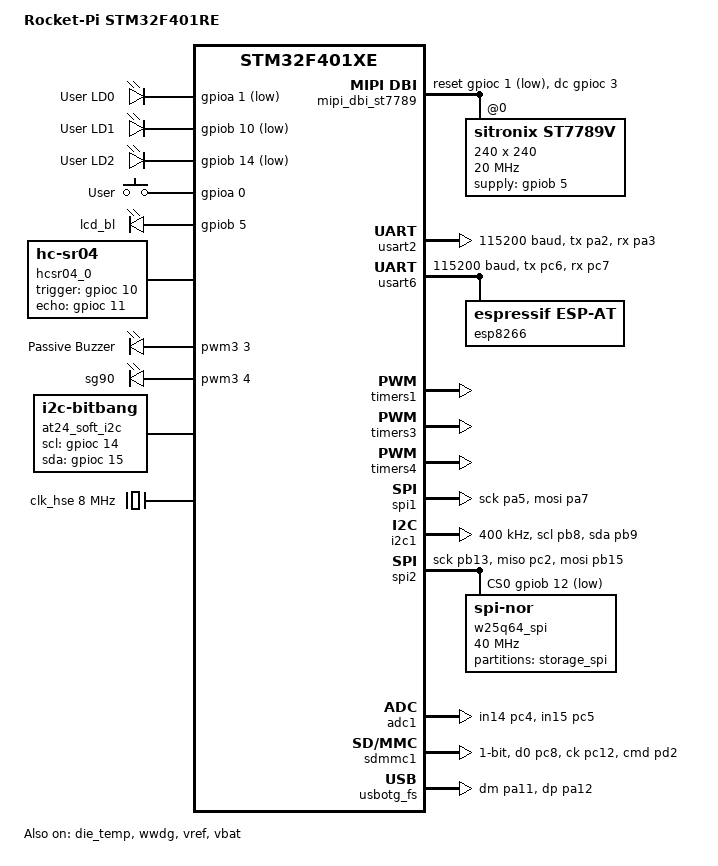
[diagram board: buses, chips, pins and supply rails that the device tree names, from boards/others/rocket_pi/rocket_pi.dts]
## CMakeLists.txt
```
# SPDX-License-Identifier: Apache-2.0

cmake_minimum_required(VERSION 3.20.0)

list(APPEND BOARD_ROOT ${CMAKE_CURRENT_SOURCE_DIR})

find_package(Zephyr REQUIRED HINTS $ENV{ZEPHYR_BASE})
project(rocketpi_zephyr_learning)

target_sources(app PRIVATE src/main.c)
```

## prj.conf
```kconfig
# Enable GPIO for LED control.
CONFIG_GPIO=y

# Enable console output through the board's chosen UART.
CONFIG_SERIAL=y
CONFIG_CONSOLE=y
CONFIG_UART_CONSOLE=y
CONFIG_PRINTK=y
```

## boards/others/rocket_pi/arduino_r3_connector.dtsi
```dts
/*
 * SPDX-License-Identifier: Apache-2.0
 */

#include <zephyr/dt-bindings/gpio/arduino-header-r3.h>

/ {
	arduino_header: connector {
		compatible = "arduino-header-r3";
		#gpio-cells = <2>;
		gpio-map-mask = <0xffffffff 0xffffffc0>;
		gpio-map-pass-thru = <0 0x3f>;
		gpio-map = <ARDUINO_HEADER_R3_A0 0 &gpioa 0 0>,
			   <ARDUINO_HEADER_R3_A1 0 &gpioa 1 0>,
			   <ARDUINO_HEADER_R3_A2 0 &gpioa 4 0>,
			   <ARDUINO_HEADER_R3_A3 0 &gpiob 0 0>,
			   <ARDUINO_HEADER_R3_A4 0 &gpioc 1 0>,
			   <ARDUINO_HEADER_R3_A5 0 &gpioc 0 0>,
			   <ARDUINO_HEADER_R3_D0 0 &gpioa 3 0>,
			   <ARDUINO_HEADER_R3_D1 0 &gpioa 2 0>,
			   <ARDUINO_HEADER_R3_D2 0 &gpioa 10 0>,
			   <ARDUINO_HEADER_R3_D3 0 &gpiob 3 0>,
			   <ARDUINO_HEADER_R3_D4 0 &gpiob 5 0>,
			   <ARDUINO_HEADER_R3_D5 0 &gpiob 4 0>,
			   <ARDUINO_HEADER_R3_D6 0 &gpiob 10 0>,
			   <ARDUINO_HEADER_R3_D7 0 &gpioa 8 0>,
			   <ARDUINO_HEADER_R3_D8 0 &gpioa 9 0>,
			   <ARDUINO_HEADER_R3_D9 0 &gpioc 7 0>,
			   <ARDUINO_HEADER_R3_D10 0 &gpiob 6 0>,
			   <ARDUINO_HEADER_R3_D11 0 &gpioa 7 0>,
			   <ARDUINO_HEADER_R3_D12 0 &gpioa 6 0>,
			   <ARDUINO_HEADER_R3_D13 0 &gpioa 5 0>,
			   <ARDUINO_HEADER_R3_D14 0 &gpiob 9 0>,
			   <ARDUINO_HEADER_R3_D15 0 &gpiob 8 0>;
	};
};

arduino_i2c: &i2c1 {};
arduino_spi: &spi1 {};
```

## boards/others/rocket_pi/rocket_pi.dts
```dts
/*
 * SPDX-License-Identifier: Apache-2.0
 */

/dts-v1/;
#include <st/f4/stm32f401Xe.dtsi>
#include <st/f4/stm32f401r(d-e)tx-pinctrl.dtsi>
#include "arduino_r3_connector.dtsi"
#include "st_morpho_connector.dtsi"
#include <zephyr/dt-bindings/display/panel.h>
#include <zephyr/dt-bindings/input/input-event-codes.h>
#include <zephyr/dt-bindings/led/led.h>
#include <zephyr/dt-bindings/mipi_dbi/mipi_dbi.h>
#include <zephyr/dt-bindings/pwm/pwm.h>

/ {
	model = "Rocket-Pi STM32F401RE";
	compatible = "newbie-jiang,rocket-pi";

	chosen {
		zephyr,console = &usart2;
		zephyr,shell-uart = &usart2;
		zephyr,sram = &sram0;
		zephyr,flash = &flash0;
		zephyr,display = &st7789v;
	};

	leds: leds {
		compatible = "gpio-leds";

		red_led: led_0 {
			gpios = <&gpioa 1 GPIO_ACTIVE_LOW>;
			label = "User LD0";
		};

		green_led: led_1 {
			gpios = <&gpiob 10 GPIO_ACTIVE_LOW>;
			label = "User LD1";
		};

		blue_led: led_2 {
			gpios = <&gpiob 14 GPIO_ACTIVE_LOW>;
			label = "User LD2";
		};
	};

	gpio_keys {
		compatible = "gpio-keys";

		user_button: button {
			label = "User";
			gpios = <&gpioa 0 (GPIO_PULL_DOWN | GPIO_ACTIVE_HIGH)>;
			zephyr,code = <INPUT_KEY_0>;
		};
	};

	backlight {
		compatible = "gpio-leds";
		status = "okay";

		lcd_bl: lcd_bl {
			gpios = <&gpiob 5 GPIO_ACTIVE_HIGH>;
			label = "lcd_bl";
		};
	};

	mipi_dbi_st7789 {
		compatible = "zephyr,mipi-dbi-spi";
		status = "okay";
		dc-gpios = <&gpioc 3 GPIO_ACTIVE_HIGH>;
		reset-gpios = <&gpioc 1 GPIO_ACTIVE_LOW>;
		spi-dev = <&spi1>;
		write-only;
		#address-cells = <1>;
		#size-cells = <0>;

		st7789v: st7789v@0 {
			compatible = "sitronix,st7789v";
			status = "okay";
			reg = <0>;
			mipi-max-frequency = <20000000>;
			width = <240>;
			height = <240>;
			pixel-format = <PANEL_PIXEL_FORMAT_RGB_565>;
			x-offset = <0>;
			y-offset = <0>;
			supply-gpios = <&gpiob 5 GPIO_ACTIVE_HIGH>;
			vcom = <0x19>;
			gctrl = <0x35>;
			vrhs = <0x12>;
			vdvs = <0x20>;
			mdac = <0x00>;
			gamma = <0x01>;
			lcm = <0x2c>;
			porch-param = [0c 0c 00 33 33];
			cmd2en-param = [5a 69 02 01];
			pwctrl1-param = [a4 a1];
			pvgam-param = [d0 04 0d 11 13 2b 3f 54 4c
					18 0d 0b 1f 23];
			nvgam-param = [d0 04 0c 11 13 2c 3f 44 51
					2f 1f 1f 20 23];
			ram-param = [00 f0];
			rgb-param = [cd 08 14];
			mipi-mode = "MIPI_DBI_MODE_SPI_4WIRE";
		};
	};

	hcsr04_0: hcsr04 {
		compatible = "hc-sr04";
		trigger-gpios = <&gpioc 10 GPIO_ACTIVE_HIGH>;
		echo-gpios = <&gpioc 11
			      (GPIO_ACTIVE_HIGH | GPIO_PULL_DOWN)>;
		status = "okay";
	};

	pwmleds {
		compatible = "pwm-leds";

		buzzer_pwm: buzzer_pwm {
			pwms = <&pwm3 3 PWM_HZ(2700) PWM_POLARITY_NORMAL>;
			label = "Passive Buzzer";
		};

		sg90_pwm: sg90_pwm {
			pwms = <&pwm3 4 PWM_HZ(50) PWM_POLARITY_NORMAL>;
			label = "sg90";
		};
	};

	at24_soft_i2c: at24_soft_i2c {
		compatible = "zephyr,i2c-bitbang";
		status = "okay";
		scl-gpios = <&gpioc 14 GPIO_ACTIVE_HIGH>;
		sda-gpios = <&gpioc 15 GPIO_ACTIVE_HIGH>;
	};

	aliases {
		led0 = &red_led;
		led1 = &green_led;
		led2 = &blue_led;
		sw0 = &user_button;
		watchdog0 = &wwdg;
		die-temp0 = &die_temp;
		volt-sensor0 = &vref;
		volt-sensor1 = &vbat;
		bl0 = &lcd_bl;
		sdhc0 = &sdmmc1;
		i2s-tx = &i2s2;
		hcsr04 = &hcsr04_0;
		buzzer0 = &buzzer_pwm;
		servo0 = &sg90_pwm;
		wifi0 = &esp8266;
	};
};

&clk_lsi {
	status = "okay";
};

&clk_hse {
	clock-frequency = <DT_FREQ_M(8)>;
	status = "okay";
};

&pll {
	div-m = <4>;
	mul-n = <168>;
	div-p = <4>;
	div-q = <7>;
	clocks = <&clk_hse>;
	status = "okay";
};

&rcc {
	clocks = <&pll>;
	clock-frequency = <DT_FREQ_M(84)>;
	ahb-prescaler = <1>;
	apb1-prescaler = <2>;
	apb2-prescaler = <1>;
};

&usart2 {
	pinctrl-0 = <&usart2_tx_pa2 &usart2_rx_pa3>;
	pinctrl-names = "default";
	current-speed = <115200>;
	status = "okay";
	label = "debug_uart";
};

&usart1 {
	pinctrl-0 = <&usart1_tx_pa9 &usart1_rx_pa10>;
	pinctrl-names = "default";
	current-speed = <9600>;
	status = "disabled";
	label = "radar_uart";
};

&usart6 {
	pinctrl-0 = <&usart6_tx_pc6 &usart6_rx_pc7>;
	pinctrl-names = "default";
	current-speed = <115200>;
	status = "okay";

	esp8266: wifi {
		compatible = "espressif,esp-at";
		status = "okay";
	};
};

&timers1 {
	status = "okay";
	st,prescaler = <0>;

	pwm1: pwm {
		status = "okay";
		pinctrl-0 = <&tim1_ch3n_pb1>;
		pinctrl-names = "default";
		label = "pb1_ws2812b";
	};
};

&timers3 {
	status = "okay";
	st,prescaler = <83>;

	pwm3: pwm {
		status = "okay";
		pinctrl-0 = <&tim3_ch3_pb0 &tim3_ch4_pc9>;
		pinctrl-names = "default";
		label = "pb0_buzzer_pc9_sg90";
	};
};

&timers4 {
	status = "okay";
	st,prescaler = <83>;

	pwm4: pwm {
		status = "okay";
		pinctrl-0 = <&tim4_ch1_pb6 &tim4_ch2_pb7>;
		pinctrl-names = "default";
		label = "l9110_pwm";
	};
};

&spi1 {
	status = "okay";
	pinctrl-0 = <&spi1_sck_pa5 &spi1_mosi_pa7>;
	pinctrl-names = "default";
	cs-gpios = <&gpioa 4 GPIO_ACTIVE_LOW>;
	label = "st7789v_spi";
};

&i2c1 {
	pinctrl-0 = <&i2c1_scl_pb8 &i2c1_sda_pb9>;
	pinctrl-names = "default";
	status = "okay";
	clock-frequency = <I2C_BITRATE_FAST>;
	label = "aht30";
};

&spi2 {
	pinctrl-0 = <&spi2_sck_pb13 &spi2_miso_pc2 &spi2_mosi_pb15>;
	pinctrl-names = "default";
	cs-gpios = <&gpiob 12 GPIO_ACTIVE_LOW>;
	status = "okay";

	w25q64_spi: spi-nor-flash@0 {
		compatible = "jedec,spi-nor";
		reg = <0>;
		spi-max-frequency = <40000000>;
		size = <DT_SIZE_M(64)>;
		status = "okay";
		jedec-id = [ef 40 17];
		has-dpd;
		t-enter-dpd = <3500>;
		t-exit-dpd = <3500>;

		partitions {
			compatible = "fixed-partitions";
			#address-cells = <1>;
			#size-cells = <1>;

			spi_storage_partition: partition@0 {
				label = "storage_spi";
				reg = <0x00000000 DT_SIZE_M(8)>;
			};
		};
	};
};

&adc1 {
	status = "okay";
	pinctrl-0 = <&adc1_in14_pc4 &adc1_in15_pc5>;
	pinctrl-names = "default";
	st,adc-clock-source = "SYNC";
	st,adc-prescaler = <2>;
	label = "adc1_joystick";
};

&flash0 {
	partitions {
		compatible = "fixed-partitions";
		#address-cells = <1>;
		#size-cells = <1>;

		boot_partition: partition@0 {
			label = "mcuboot";
			reg = <0x00000000 DT_SIZE_K(64)>;
			read-only;
		};

		slot0_partition: partition@20000 {
			label = "image-0";
			reg = <0x00020000 DT_SIZE_K(128)>;
		};

		slot1_partition: partition@40000 {
			label = "image-1";
			reg = <0x00040000 DT_SIZE_K(128)>;
		};

		scratch_partition: partition@60000 {
			label = "image-scratch";
			reg = <0x00060000 DT_SIZE_K(128)>;
		};
	};
};

&die_temp {
	status = "okay";
};

&wwdg {
	status = "okay";
};

&vref {
	status = "okay";
};

&vbat {
	status = "okay";
};

&sdmmc1 {
	status = "okay";
	pinctrl-names = "default";
	pinctrl-0 = <&sdio_d0_pc8 &sdio_ck_pc12 &sdio_cmd_pd2>;
	bus-width = <1>;
	cd-gpios = <&gpioc 0 (GPIO_ACTIVE_LOW | GPIO_PULL_UP)>;
	disk-name = "SD";
	resets;
	clk-div = <4>;
};

zephyr_udc0: &usbotg_fs {
	pinctrl-0 = <&usb_otg_fs_dm_pa11 &usb_otg_fs_dp_pa12>;
	pinctrl-names = "default";
	status = "okay";

	cdc_acm_uart0 {
		compatible = "zephyr,cdc-acm-uart";
		label = "Zephyr USB CDC-ACM";
	};
};

&plli2s {
	div-m = <4>;
	mul-n = <128>;
	div-r = <5>;
	clocks = <&clk_hse>;
	status = "disabled";
};

&i2s2 {
	pinctrl-0 = <&i2s2_ws_pb12 &i2s2_ck_pb13 &i2s2_sd_pb15>;
	pinctrl-names = "default";
	status = "disabled";
};

&dma1 {
	status = "okay";
};

&dma2 {
	status = "okay";
};
```

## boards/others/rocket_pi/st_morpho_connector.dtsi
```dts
/*
 * SPDX-License-Identifier: Apache-2.0
 */

#include <zephyr/dt-bindings/gpio/gpio.h>
#include <zephyr/dt-bindings/gpio/st-morpho-header.h>

/ {
	st_morpho_header: st-morpho-header {
		compatible = "st-morpho-header";
		#gpio-cells = <2>;
		gpio-map-mask = <ST_MORPHO_PIN_MASK 0x0>;
		gpio-map-pass-thru = <0x0 GPIO_DT_FLAGS_MASK>;
		gpio-map = <ST_MORPHO_L_1 0 &gpioc 10 0>,
			   <ST_MORPHO_L_2 0 &gpioc 11 0>,
			   <ST_MORPHO_L_3 0 &gpioc 12 0>,
			   <ST_MORPHO_L_4 0 &gpiod 2 0>,
			   <ST_MORPHO_L_13 0 &gpioa 13 0>,
			   <ST_MORPHO_L_15 0 &gpioa 14 0>,
			   <ST_MORPHO_L_17 0 &gpioa 15 0>,
			   <ST_MORPHO_L_21 0 &gpiob 7 0>,
			   <ST_MORPHO_L_23 0 &gpioc 13 0>,
			   <ST_MORPHO_L_25 0 &gpioc 14 0>,
			   <ST_MORPHO_L_27 0 &gpioc 15 0>,
			   <ST_MORPHO_L_28 0 &gpioa 0 0>,
			   <ST_MORPHO_L_29 0 &gpioh 0 0>,
			   <ST_MORPHO_L_30 0 &gpioa 1 0>,
			   <ST_MORPHO_L_31 0 &gpioh 1 0>,
			   <ST_MORPHO_L_32 0 &gpioa 4 0>,
			   <ST_MORPHO_L_34 0 &gpiob 0 0>,
			   <ST_MORPHO_L_35 0 &gpioc 2 0>,
			   <ST_MORPHO_L_36 0 &gpioc 1 0>,
			   <ST_MORPHO_L_37 0 &gpioc 3 0>,
			   <ST_MORPHO_L_38 0 &gpioc 0 0>,
			   <ST_MORPHO_R_1 0 &gpioc 9 0>,
			   <ST_MORPHO_R_2 0 &gpioc 8 0>,
			   <ST_MORPHO_R_3 0 &gpiob 8 0>,
			   <ST_MORPHO_R_4 0 &gpioc 6 0>,
			   <ST_MORPHO_R_5 0 &gpiob 9 0>,
			   <ST_MORPHO_R_6 0 &gpioc 5 0>,
			   <ST_MORPHO_R_11 0 &gpioa 5 0>,
			   <ST_MORPHO_R_12 0 &gpioa 12 0>,
			   <ST_MORPHO_R_13 0 &gpioa 6 0>,
			   <ST_MORPHO_R_14 0 &gpioa 11 0>,
			   <ST_MORPHO_R_15 0 &gpioa 7 0>,
			   <ST_MORPHO_R_16 0 &gpiob 12 0>,
			   <ST_MORPHO_R_17 0 &gpiob 6 0>,
			   <ST_MORPHO_R_19 0 &gpioc 7 0>,
			   <ST_MORPHO_R_21 0 &gpioa 9 0>,
			   <ST_MORPHO_R_22 0 &gpiob 2 0>,
			   <ST_MORPHO_R_23 0 &gpioa 8 0>,
			   <ST_MORPHO_R_24 0 &gpiob 1 0>,
			   <ST_MORPHO_R_25 0 &gpiob 10 0>,
			   <ST_MORPHO_R_26 0 &gpiob 15 0>,
			   <ST_MORPHO_R_27 0 &gpiob 4 0>,
			   <ST_MORPHO_R_28 0 &gpiob 14 0>,
			   <ST_MORPHO_R_29 0 &gpiob 5 0>,
			   <ST_MORPHO_R_30 0 &gpiob 13 0>,
			   <ST_MORPHO_R_31 0 &gpiob 3 0>,
			   <ST_MORPHO_R_33 0 &gpioa 10 0>,
			   <ST_MORPHO_R_34 0 &gpioc 4 0>,
			   <ST_MORPHO_R_35 0 &gpioa 2 0>,
			   <ST_MORPHO_R_37 0 &gpioa 3 0>;
	};
};
```

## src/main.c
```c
/*
 * SPDX-License-Identifier: Apache-2.0
 */

#include <zephyr/drivers/gpio.h>
#include <zephyr/kernel.h>

#define SLEEP_TIME_MS 500

static const struct gpio_dt_spec leds[] = {
	GPIO_DT_SPEC_GET(DT_ALIAS(led0), gpios),
	GPIO_DT_SPEC_GET(DT_ALIAS(led1), gpios),
	GPIO_DT_SPEC_GET(DT_ALIAS(led2), gpios),
};

static const char *const led_names[] = {
	"red",
	"green",
	"blue",
};

int main(void)
{
	for (size_t i = 0; i < ARRAY_SIZE(leds); i++) {
		if (!gpio_is_ready_dt(&leds[i])) {
			printk("LED %u is not ready\n", i);
			return 0;
		}

		if (gpio_pin_configure_dt(&leds[i], GPIO_OUTPUT_INACTIVE) < 0) {
			printk("Failed to configure LED %u\n", i);
			return 0;
		}
	}

	while (1) {
		for (size_t i = 0; i < ARRAY_SIZE(leds); i++) {
			printk("LED: %s\n", led_names[i]);
			gpio_pin_set_dt(&leds[i], 1);
			k_msleep(SLEEP_TIME_MS);
			gpio_pin_set_dt(&leds[i], 0);
		}
	}

	return 0;
}
```
